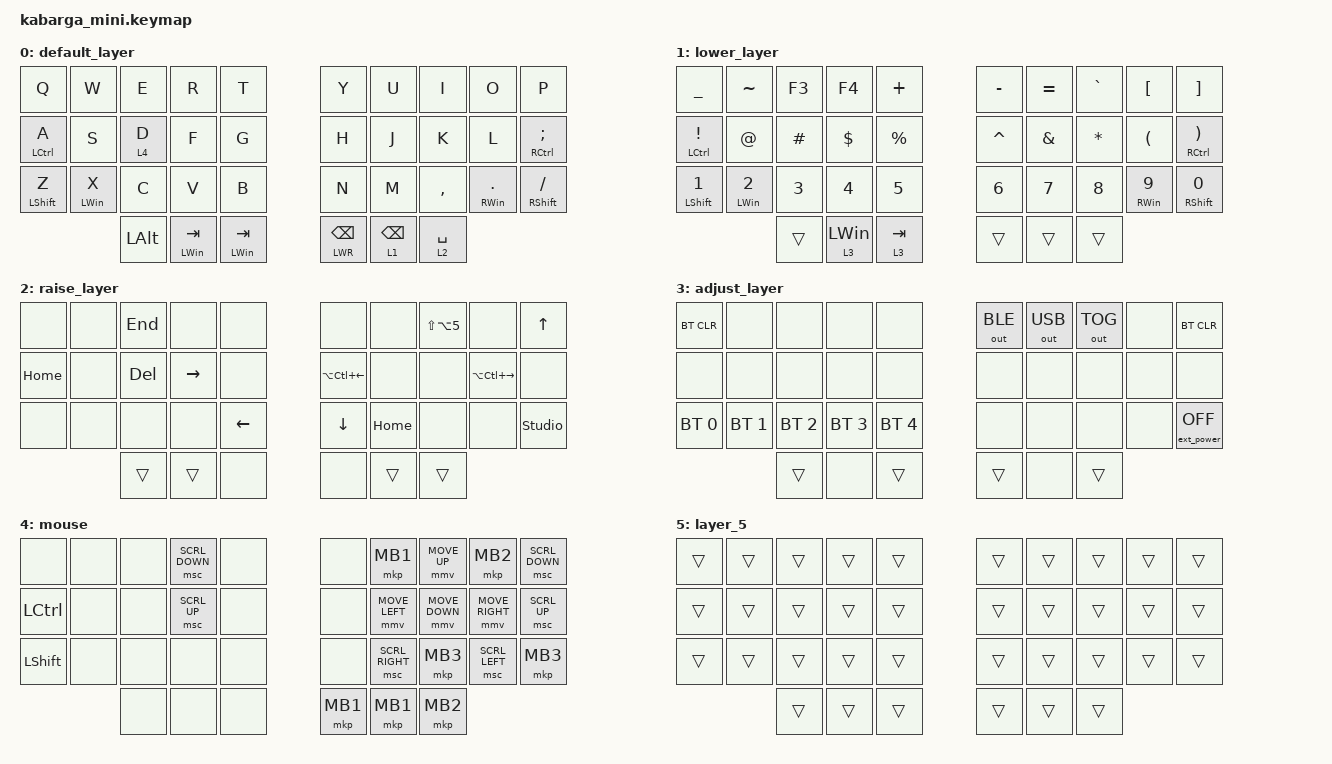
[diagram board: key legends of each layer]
/*
 * Copyright (c) 2020 The ZMK Contributors
 *
 * SPDX-License-Identifier: MIT
 */

#define ZMK_POINTING_DEFAULT_MOVE_VAL 2000  // default: 600
#define ZMK_POINTING_DEFAULT_SCRL_VAL 20    // default: 10

#include <behaviors.dtsi>
#include <dt-bindings/zmk/bt.h>
#include <dt-bindings/zmk/ext_power.h>
#include <dt-bindings/zmk/keys.h>
#include <dt-bindings/zmk/outputs.h>
#include <dt-bindings/zmk/pointing.h>

#define DEF 0
#define LWR 1
#define RSE 2
#define ADJ 3

/*
* &lt { quick_tap_ms = <220>; };
* &mt { quick_tap_ms = <220>; };
 */

&lt {
    quick_tap_ms = <220>;
    require-prior-idle-ms = <150>;
    flavor = "balanced";
    tapping-term-ms = <280>;
};

&mt {
    quick-tap-ms = <100>;
    global-quick-tap;
    flavor = "tap-preferred";
    tapping-term-ms = <220>;
};

&mmv {
    x-input-code = <INPUT_REL_X>;
    y-input-code = <INPUT_REL_Y>;
    time-to-max-speed-ms = <400>;
    acceleration-exponent = <1>;
    delay-ms = <0>;
};

/ {
};

/ {
    combos {
        compatible = "zmk,combos";

        esc {
            bindings = <&kp ESCAPE>;
            key-positions = <0 1>;
        };

        x {
            bindings = <&kp LEFT_BRACKET>;
            key-positions = <8 9>;
        };

        q {
            bindings = <&kp SQT>;
            key-positions = <18 19>;
        };

        backslash {
            bindings = <&kp BACKSLASH>;
            key-positions = <29 28>;
        };

        enter {
            bindings = <&kp ENTER>;
            key-positions = <18 17>;
        };
    };

    keymap {
        compatible = "zmk,keymap";

        default_layer {
            bindings = <
&kp Q        &kp W       &kp E     &kp R             &kp T             &kp Y  &kp U              &kp I            &kp O         &kp P
&mt LCTRL A  &kp S       &lt 4 D   &kp F             &kp G             &kp H  &kp J              &kp K            &kp L         &mt RCTRL SEMI
&mt LSHFT Z  &mt LWIN X  &kp C     &kp V             &kp B             &kp N  &kp M              &kp COMMA        &mt RWIN DOT  &mt RSHFT FSLH
                         &kp LALT  &mt LEFT_WIN TAB  &mt LEFT_WIN TAB         &lt LWR BACKSPACE  &lt 1 BACKSPACE  &lt 2 SPACE
            >;
        };

        lower_layer {
            bindings = <
&kp UNDERSCORE         &kp TILDE    &kp F3    &kp F4          &kp PLUS     &kp MINUS  &kp EQUAL  &kp GRAVE  &kp LEFT_BRACKET  &kp RIGHT_BRACKET
&mt LCTRL EXCLAMATION  &kp AT_SIGN  &kp HASH  &kp DOLLAR      &kp PERCENT  &kp CARET  &kp AMPS   &kp STAR   &kp LPAR          &mt RCTRL RPAR
&mt LSHIFT N1          &mt LWIN N2  &kp N3    &kp N4          &kp N5       &kp N6     &kp N7     &kp N8     &mt RWIN N9       &mt RSHFT N0
                                    &trans    &lt 3 LEFT_WIN  &lt 3 TAB               &trans     &trans     &trans
            >;
        };

        raise_layer {
            bindings = <
&none     &none  &kp END  &none      &none     &none             &none     &kp LS(LA(N5))  &none              &kp UP
&kp HOME  &none  &kp DEL  &kp RIGHT  &none     &kp LA(LC(LEFT))  &none     &none           &kp LA(LC(RIGHT))  &none
&none     &none  &none    &none      &kp LEFT  &kp DOWN          &kp HOME  &none           &none              &studio_unlock
                 &trans   &trans     &none                       &none     &trans          &trans
            >;
        };

        adjust_layer {
            bindings = <
&bt BT_CLR    &none         &none         &none         &none         &out OUT_BLE  &out OUT_USB  &out OUT_TOG  &none   &bt BT_CLR
&none         &none         &none         &none         &none         &none         &none         &none         &none   &none
&bt BT_SEL 0  &bt BT_SEL 1  &bt BT_SEL 2  &bt BT_SEL 3  &bt BT_SEL 4  &none         &none         &none         &none   &ext_power EP_OFF
                            &trans        &none         &trans                      &trans        &none         &trans
            >;
        };

        mouse {
            bindings = <
&none           &none  &none  &msc SCRL_DOWN  &none  &none  &mkp MB1         &mmv MOVE_UP    &mkp MB2         &msc SCRL_DOWN
&kp LCTRL       &none  &none  &msc SCRL_UP    &none  &none  &mmv MOVE_LEFT   &mmv MOVE_DOWN  &mmv MOVE_RIGHT  &msc SCRL_UP
&kp LEFT_SHIFT  &none  &none  &none           &none  &none  &msc SCRL_RIGHT  &mkp MB3        &msc SCRL_LEFT   &mkp MB3
                       &none  &none           &none         &mkp MB1         &mkp MB1        &mkp MB2
            >;
        };

        layer_5 {
            bindings = <
&trans  &trans  &trans  &trans  &trans  &trans  &trans  &trans  &trans  &trans
&trans  &trans  &trans  &trans  &trans  &trans  &trans  &trans  &trans  &trans
&trans  &trans  &trans  &trans  &trans  &trans  &trans  &trans  &trans  &trans
                &trans  &trans  &trans          &trans  &trans  &trans
            >;
        };
    };
};
